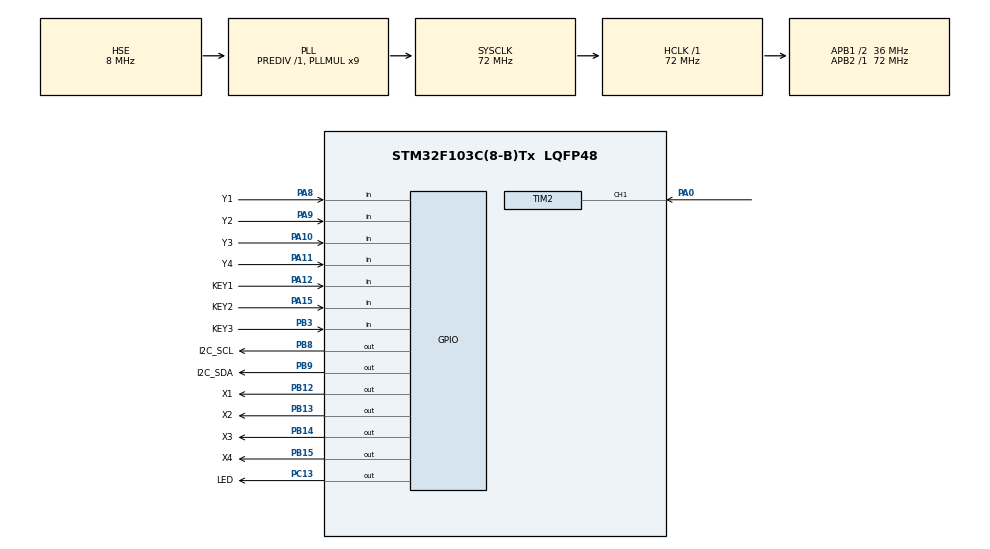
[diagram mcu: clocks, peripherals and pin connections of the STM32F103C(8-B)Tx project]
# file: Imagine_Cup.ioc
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Mcu.Family=STM32F1
Mcu.Name=STM32F103C(8-B)Tx
Mcu.Package=LQFP48
NVIC.PriorityGroup=NVIC_PRIORITYGROUP_4
NVIC.TIM1_BRK_IRQn=true\:0\:0\:false\:false\:true\:true\:true\:true
NVIC.TIM1_TRG_COM_IRQn=true\:0\:0\:false\:false\:true\:true\:true\:true
NVIC.TIM1_UP_IRQn=true\:0\:0\:false\:false\:true\:true\:true\:true
NVIC.TIM2_IRQn=true\:0\:0\:false\:false\:true\:true\:true\:true
NVIC.TIM3_IRQn=true\:0\:0\:false\:false\:true\:true\:true\:true
PA0-WKUP.Signal=S_TIM2_CH1_ETR
PA10.GPIO_Label=Y3
PA10.GPIO_PuPd=GPIO_PULLUP
PA10.Signal=GPIO_Input
PA11.GPIO_Label=Y4
PA11.GPIO_PuPd=GPIO_PULLUP
PA11.Signal=GPIO_Input
PA12.GPIO_Label=KEY1
PA12.GPIO_PuPd=GPIO_PULLUP
PA12.Signal=GPIO_Input
PA13.Mode=Serial_Wire
PA13.Signal=SYS_JTMS-SWDIO
PA14.Mode=Serial_Wire
PA14.Signal=SYS_JTCK-SWCLK
PA15.GPIO_Label=KEY2
PA15.GPIO_PuPd=GPIO_PULLUP
PA15.Signal=GPIO_Input
PA8.GPIO_Label=Y1
PA8.GPIO_PuPd=GPIO_PULLUP
PA8.Signal=GPIO_Input
PA9.GPIO_Label=Y2
PA9.GPIO_PuPd=GPIO_PULLUP
PA9.Signal=GPIO_Input
PB12.GPIO_Label=X1
PB12.GPIO_PuPd=GPIO_PULLUP
PB12.Signal=GPIO_Output
PB13.GPIO_Label=X2
PB13.GPIO_PuPd=GPIO_PULLUP
PB13.Signal=GPIO_Output
PB14.GPIO_Label=X3
PB14.GPIO_PuPd=GPIO_PULLUP
PB14.Signal=GPIO_Output
PB15.GPIO_Label=X4
PB15.GPIO_PuPd=GPIO_PULLUP
PB15.Signal=GPIO_Output
PB3.GPIO_Label=KEY3
PB3.GPIO_PuPd=GPIO_PULLUP
PB3.Signal=GPIO_Input
PB8.GPIO_Label=I2C_SCL
PB8.Signal=GPIO_Output
PB9.GPIO_Label=I2C_SDA
PB9.Signal=GPIO_Output
PC13-TAMPER-RTC.GPIO_Label=LED
PC13-TAMPER-RTC.Signal=GPIO_Output
PD0-OSC_IN.Mode=HSE-External-Oscillator
PD0-OSC_IN.Signal=RCC_OSC_IN
PD1-OSC_OUT.Mode=HSE-External-Oscillator
PD1-OSC_OUT.Signal=RCC_OSC_OUT
ProjectManager.HeapSize=0x200
ProjectManager.StackSize=0x400
ProjectManager.TargetToolchain=STM32CubeIDE
RCC.AHBFreq_Value=72000000
RCC.APB1CLKDivider=RCC_HCLK_DIV2
RCC.APB1Freq_Value=36000000
RCC.APB1TimFreq_Value=72000000
RCC.APB2Freq_Value=72000000
RCC.APB2TimFreq_Value=72000000
RCC.HCLKFreq_Value=72000000
RCC.PLLMUL=RCC_PLL_MUL9
RCC.PLLSourceVirtual=RCC_PLLSOURCE_HSE
RCC.SYSCLKFreq_VALUE=72000000
RCC.SYSCLKSource=RCC_SYSCLKSOURCE_PLLCLK
RCC.USBFreq_Value=72000000
SH.S_TIM2_CH1_ETR.0=TIM2_CH1,TriggerSource_TI1FP1
TIM1.Period=10000-1
TIM1.Prescaler=720-1
TIM2.AutoReloadPreload=TIM_AUTORELOAD_PRELOAD_ENABLE
TIM2.Slave_TriggerPolarity=TIM_TRIGGERPOLARITY_FALLING
TIM3.Period=19999
TIM3.Prescaler=720
VP_TIM1_VS_ClockSourceINT.Mode=Internal
VP_TIM2_VS_ControllerModeClock.Mode=Clock Mode
VP_TIM3_VS_ClockSourceINT.Mode=Internal
board=custom

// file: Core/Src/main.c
/* USER CODE BEGIN Header */
/**
  ******************************************************************************
  * @file           : main.c
  * @brief          : Main program body
  ******************************************************************************
  * @attention
  *
  * Copyright (c) 2023 STMicroelectronics.
  * All rights reserved.
  *
  * This software is licensed under terms that can be found in the LICENSE file
  * in the root directory of this software component.
  * If no LICENSE file comes with this software, it is provided AS-IS.
  *
  ******************************************************************************
  */
/* USER CODE END Header */
#include "main.h"
#include "tim.h"
#include "gpio.h"

/* USER CODE BEGIN Includes */
#include "OLED.h"
#include "MatrixKey.h"
#include "Frectest.h"
/* USER CODE END Includes */

void SystemClock_Config(void);

/* USER CODE BEGIN 0 */
uint8_t huandang(float data)
{
        if (data != 0) {
            if (data > 0 && data <= 100)
            {
                return 10;
            }else if(data > 100 && data <=1000)
            {
                return 11;
            }
            else if (data >1000 && data <=10000)

            {
                return 12;
            }
        }else
        {
            return 13;
        }

}
/* USER CODE END 0 */

int main(void)
{
  /* USER CODE BEGIN 1 */
  uint8_t temp, temp1=0;
  int num = 10, cnt1 = 0, cnt2, zidong;
  uint8_t i,j=0,k = 0;
  uint16_t h;
  uint8_t H[128];
  float zuzhi;
  /* USER CODE END 1 */

  /* MCU Configuration--------------------------------------------------------*/

  /* Reset of all peripherals, Initializes the Flash interface and the Systick. */
  HAL_Init();

  /* Configure the system clock */
  SystemClock_Config();

  /* Initialize all configured peripherals */
  MX_GPIO_Init();
  MX_TIM1_Init();
  MX_TIM2_Init();
  MX_TIM3_Init();
  /* USER CODE BEGIN 2 */
  HAL_TIM_Base_Start_IT(&htim1);
  OLED_Init();

  Frec_init();
  /* USER CODE END 2 */

  /* Infinite loop */
  /* USER CODE BEGIN WHILE */
  while (1)
  {
      Frec_Start_Test();
      zuzhi = Frec_Get_Resistance();
      cnt1 = MatrixKey();//按键值
      cnt2 = huandang(zuzhi);//换挡值
//      pl = Frec_Get_Frec();

      if (cnt1 == 15)
      {
          zidong = 1;

      }
      else
      {
          zidong = 0;
      }
      if (zidong == 1)
      {
          if (num != cnt2 && cnt2 != 13)
          {
              if (cnt1 != cnt2)
              {
                  OLED_Clear();
              }
              cnt1 = cnt2;

          }
      }
      if (num != cnt1)
      {
          OLED_Clear();
          num = cnt1;
      }
      if (cnt1 == 14)
      {
          for (i = 0; i < 128; i++)
          {
              H[i] = 32;
          }
          if (k == 0)
          {
              Gram_clear();

              OLED_Clear();
              k = 1;

          }
        h = zuzhi*(32.0/100000);
        h=(int)h;
        gui_draw_axis();
        H[j] = 32-h;
        for (i = 0; i < 128; i++)
        {
            OLED_DrawPoint(i, H[i], 1);

        }

        j++;
          OLED_Refresh_Gram();
        if (j>127)
        {
            j = 0;
            k = 0;
            OLED_Refresh_Gram();
            Gram_clear();
            OLED_Clear();
        }

      }
      if (num == 10)
      {
          OLED_ShowFloatNum(0,4,zuzhi,66,16);
          OLED_ShowChinese(0,0,"量程",16);
          OLED_ShowNum(32,0,100,3,16);
          OLED_ShowChinese(64,0,"Ω",16);
          OLED_ShowChinese(0,2,"电阻大小：",16);
          OLED_ShowFloatNum(64,2,zuzhi,21,16);
      }
      if (num == 11)
      {
          OLED_ShowFloatNum(0,4,zuzhi,66,16);
          zuzhi = zuzhi/10000;
          OLED_ShowChinese(0,0,"量程",16);
          OLED_ShowNum(48,0,1,1,16);
          OLED_ShowString(55,0,"k",16);
          OLED_ShowChinese(64,0,"Ω",16);
          OLED_ShowChinese(0,2,"电阻大小：",16);
          OLED_ShowNum(64,2,0,1,16);
          OLED_ShowFloatNum(70,2,zuzhi,03,16);
      }
      if (num == 12)
      {
          OLED_ShowFloatNum(0,4,zuzhi,66,16);
          zuzhi = zuzhi / 1000;
          OLED_ShowChinese(0,0,"量程",16);
          OLED_ShowNum(48,0,10,2,16);
          OLED_ShowString(70,0,"k",16);
          OLED_ShowChinese(80,0,"Ω",16);
          OLED_ShowChinese(0,2,"电阻大小：",16);
          OLED_ShowFloatNum(64,2,zuzhi,12,16);
      }
      if (num == 13)
      {
          OLED_ShowFloatNum(0,4,zuzhi,66,16);
          zuzhi = zuzhi / 1000;
          OLED_ShowChinese(0,0,"量程",16);
          OLED_ShowNum(48,0,100,3,16);
          OLED_ShowString(75,0,"k",16);
          OLED_ShowChinese(85,0,"Ω",16);
          OLED_ShowChinese(0,2,"电阻大小：",16);
          OLED_ShowFloatNum(64,2,zuzhi,21,16);
      }
      /* USER CODE END WHILE */

  }
}

void SystemClock_Config(void)
{
  RCC_OscInitTypeDef RCC_OscInitStruct = {0};
  RCC_ClkInitTypeDef RCC_ClkInitStruct = {0};

  /** Initializes the RCC Oscillators according to the specified parameters
  * in the RCC_OscInitTypeDef structure.
  */
  RCC_OscInitStruct.OscillatorType = RCC_OSCILLATORTYPE_HSE;
  RCC_OscInitStruct.HSEState = RCC_HSE_ON;
  RCC_OscInitStruct.HSEPredivValue = RCC_HSE_PREDIV_DIV1;
  RCC_OscInitStruct.HSIState = RCC_HSI_ON;
  RCC_OscInitStruct.PLL.PLLState = RCC_PLL_ON;
  RCC_OscInitStruct.PLL.PLLSource = RCC_PLLSOURCE_HSE;
  RCC_OscInitStruct.PLL.PLLMUL = RCC_PLL_MUL9;
  if (HAL_RCC_OscConfig(&RCC_OscInitStruct) != HAL_OK)
  {
    Error_Handler();
  }

  /** Initializes the CPU, AHB and APB buses clocks
  */
  RCC_ClkInitStruct.ClockType = RCC_CLOCKTYPE_HCLK|RCC_CLOCKTYPE_SYSCLK
                              |RCC_CLOCKTYPE_PCLK1|RCC_CLOCKTYPE_PCLK2;
  RCC_ClkInitStruct.SYSCLKSource = RCC_SYSCLKSOURCE_PLLCLK;
  RCC_ClkInitStruct.AHBCLKDivider = RCC_SYSCLK_DIV1;
  RCC_ClkInitStruct.APB1CLKDivider = RCC_HCLK_DIV2;
  RCC_ClkInitStruct.APB2CLKDivider = RCC_HCLK_DIV1;

  if (HAL_RCC_ClockConfig(&RCC_ClkInitStruct, FLASH_LATENCY_2) != HAL_OK)
  {
    Error_Handler();
  }
}

/* USER CODE BEGIN 4 */
void HAL_TIM_PeriodElapsedCallback(TIM_HandleTypeDef *htim)
{
    if(htim->Instance == TIM1)//锟借定锟矫讹拷时锟斤拷10ms锟斤拷一锟斤拷锟叫讹拷
    {
        MatrixKey_Loop();
    }
    if (htim->Instance == TIM2)
    {
        Frec_Overflow_Handle();
    }
    if (htim->Instance == TIM3)
    {
        Frec_Trec_TIMer_Handle();
    }
}
/* USER CODE END 4 */

void Error_Handler(void)
{
  __disable_irq();
  while (1)
  {
  }
}
